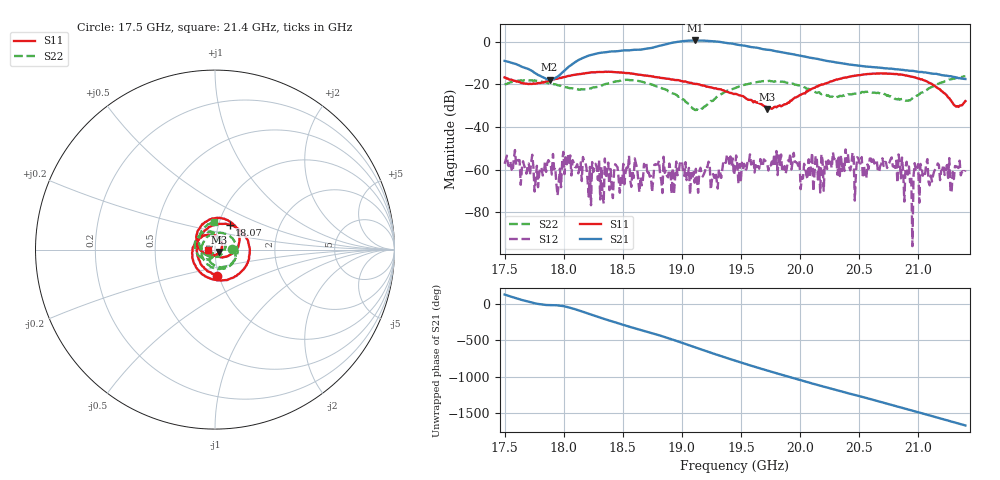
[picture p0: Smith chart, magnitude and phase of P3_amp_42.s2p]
!Created with skrf (http://scikit-rf.org).
# GHz S RI R 50.0
!freq ReS11 ImS11 ReS21 ImS21 ReS12 ImS12 ReS22 ImS22
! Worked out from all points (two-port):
!   401 points, 17.5 GHz to 21.4 GHz, reference 50 ohm
!   highest |S21| = 0.53 dB at 19.11 GHz (marker M1); lowest = -17.9 dB at 17.88 GHz (marker M2)
!   |S21| within 3 dB of the highest: 18.78 GHz to 19.58 GHz (797.7 MHz wide, 4.16 % of centre)
!   lowest |S11| = -31.6 dB at 19.72 GHz (marker M3), VSWR 1.05, Z = 52.3 - j1.32 ohm
!   |S11| at or under -10 dB: start of sweep to end of sweep
!   |S22| runs from -32.3 to -16.2 dB; largest |S21 - S12| = 1.1
!   S11 on the Smith chart (normalised r, x): 17.5 GHz: 0.98, -0.29; 18.07 GHz: 1.13, +0.32; 21.4 GHz: 0.92, -0.00
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17.5  0.00849 -0.1444  -0.2112 0.2832  -0.00119 0.000667  0.0974 0.00181
17.773  -0.0971 0.0383  0.173 0.00211  0.000264 0.00119  0.0629 -0.1022
17.88025  -0.0518 0.1106  0.1215 -0.0387  -0.000774 0.00124  0.00306 -0.1045
17.95825  -0.000252 0.138  0.1458 -0.0598  0.000234 0.000441  -0.033 -0.0873
18.0655  0.0818 0.1393  0.1449 -0.2466  0.000298 -0.000661  -0.0716 -0.036
18.15325  0.1418 0.1036  -0.0986 -0.39  -0.000463 0.000271  -0.0746 0.0181
18.30925  0.1936 -0.0136  -0.5375 0.0891  -0.000154 -0.000125  0.00412 0.0888
18.48475  0.1213 -0.1459  0.0937 0.6054  0.000544 -0.000319  0.1182 0.0255
18.6505  -0.0124 -0.1659  0.6479 0.0186  0.000276 -0.000612  0.074 -0.0906
18.8065  -0.1062 -0.098  0.2713 -0.7435  -0.00138 -0.000822  -0.00864 -0.0833
18.99175  -0.1174 0.0205  -0.9911 -0.2033  -0.0015 0.000318  -0.0342 -0.033
19.10875  -0.0754 0.0698  -0.6252 0.8599  1.4e-05 -0.000489  -0.0176 -0.0178
19.1965  -0.0379 0.0834  0.2324 1.025  0.000692 0.00059  -0.0103 -0.0284
19.294  0.000706 0.0785  0.9164 0.4077  0.000539 -0.000224  -0.0187 -0.0464
19.45  0.0343 0.0488  0.453 -0.7459  0.000824 0.000541  -0.0643 -0.0489
19.723  0.023 -0.0126  -0.6302 0.1438  0.00132 -0.000275  -0.1055 0.0517
19.879  -0.0103 -0.0323  -0.0205 0.5404  -0.000244 -0.000766  -0.0471 0.099
20.10325  -0.0786 -0.00524  0.4027 -0.0798  -0.000489 -0.00242  0.0153 0.0692
20.4445  -0.0737 0.1371  -0.2667 -0.0967  -0.00212 0.00128  0.0181 0.0562
20.7565  0.0851 0.1549  0.0975 0.2112  0.000373 0.00139  0.0517 -0.0033
20.94175  0.1356 0.0655  0.1971 -0.0642  0.000682 -0.000176  -0.018 -0.0407
21.4  -0.0401 -0.000412  -0.0924 0.0951  -0.00092 0.000278  -0.00822 0.1543
